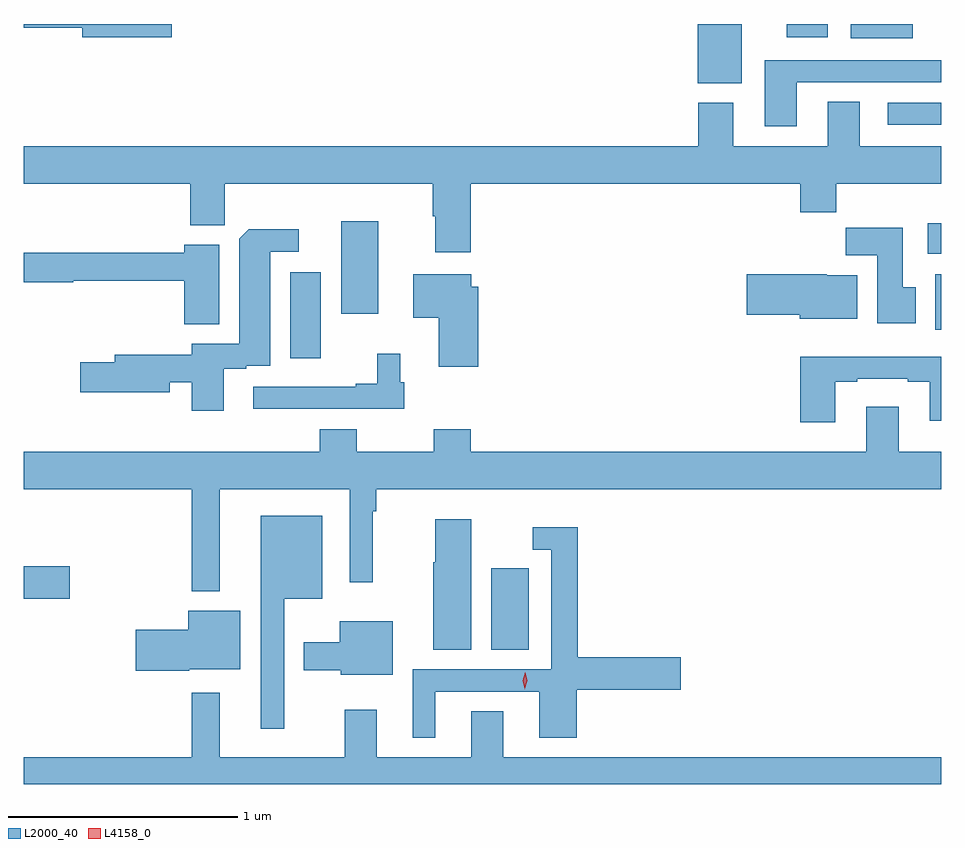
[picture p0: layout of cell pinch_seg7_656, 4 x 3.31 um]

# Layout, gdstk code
import gdstk
lib = gdstk.Library(unit=1e-6, precision=1e-09)
def R(c, l, rs):  # rectangles x0, y0, x1, y1
    for r in rs: c.add(gdstk.rectangle(r[:2], r[2:], *l))
def P(c, l, *ps):  # polygons
    for p in ps: c.add(gdstk.Polygon(p, *l))
L2000_40 = (2000, 40)
L4158_0 = (4158, 0)

pinch_seg7_656 = lib.new_cell('pinch_seg7_656')
R(pinch_seg7_656, L2000_40, [(353.828,998.584,353.992,998.941), (351.79,998.807,351.991,998.949), (352.952,999.855,353.086,1000.231), (355.763,999.98,355.79,1000.222), (353.174,1000.05,353.335,1000.453), (355.731,1000.31,355.79,1000.444), (355.557,1000.872,355.79,1000.968), (354.728,1001.054,354.919,1001.312), (355.394,1001.249,355.666,1001.312), (355.115,1001.255,355.294,1001.312)])
P(pinch_seg7_656, L2000_40, [(352.435,1001.312),(351.79,1001.312),(351.79,1001.296),(352.046,1001.296),(352.046,1001.254),(352.435,1001.254)],
  [(355.159,1001.058),(355.79,1001.058),(355.79,1001.154),(355.019,1001.154),(355.019,1000.866),(355.159,1000.866)],
  [(353.738,1000.616),(355.175,1000.616),(355.175,1000.492),(355.331,1000.492),(355.331,1000.616),(355.79,1000.616),(355.79,1000.78),(355.435,1000.78),(355.435,1000.973),(355.295,1000.973),(355.295,1000.78),(354.883,1000.78),(354.883,1000.969),(354.731,1000.969),(354.731,1000.78),(351.79,1000.78),(351.79,1000.616),(352.517,1000.616),(352.517,1000.435),(352.667,1000.435),(352.667,1000.616),(353.573,1000.616),(353.573,1000.475),(353.585,1000.475),(353.585,1000.317),(353.738,1000.317)],
  [(355.678,1000.164),(355.621,1000.164),(355.621,1000.423),(355.372,1000.423),(355.372,1000.304),(355.511,1000.304),(355.511,1000.008),(355.678,1000.008)],
  [(352.663,999.81),(352.76,999.81),(352.76,999.822),(352.864,999.822),(352.864,1000.32),(352.99,1000.32),(352.99,1000.418),(352.771,1000.418),(352.73,1000.376),(352.73,999.918),(352.523,999.918),(352.523,999.871),(352.187,999.871),(352.187,999.837),(352.038,999.837),(352.038,999.707),(352.426,999.707),(352.426,999.75),(352.523,999.75),(352.523,999.627),(352.663,999.627)],
  [(352.642,1000.35),(352.49,1000.35),(352.49,1000.315),(351.79,1000.315),(351.79,1000.186),(352.006,1000.186),(352.006,1000.194),(352.49,1000.194),(352.49,1000.003),(352.642,1000.003)],
  [(355.423,1000.216),(355.29,1000.216),(355.29,1000.222),(354.942,1000.222),(354.942,1000.046),(355.172,1000.046),(355.172,1000.028),(355.423,1000.028)],
  [(353.771,1000.167),(353.74,1000.167),(353.74,1000.222),(353.489,1000.222),(353.489,1000.031),(353.6,1000.031),(353.6,999.819),(353.771,999.819)],
  [(353.45,999.75),(353.431,999.75),(353.431,999.874),(353.332,999.874),(353.332,999.745),(353.237,999.745),(353.237,999.732),(352.791,999.732),(352.791,999.636),(353.45,999.636)],
  [(355.327,999.753),(355.423,999.753),(355.423,999.765),(355.643,999.765),(355.643,999.753),(355.739,999.753),(355.739,999.584),(355.79,999.584),(355.79,999.862),(355.175,999.862),(355.175,999.576),(355.327,999.576)],
  [(355.79,999.448),(355.603,999.448),(355.603,999.643),(355.463,999.643),(355.463,999.448),(353.738,999.448),(353.738,999.547),(353.578,999.547),(353.578,999.448),(353.241,999.448),(353.241,999.547),(353.081,999.547),(353.081,999.448),(351.79,999.448),(351.79,999.284),(352.524,999.284),(352.524,998.84),(352.645,998.84),(352.645,999.284),(353.211,999.284),(353.211,998.88),(353.312,998.88),(353.312,999.188),(353.327,999.188),(353.327,999.284),(355.79,999.284)],
  [(352.927,998.807),(353.092,998.807),(353.092,999.169),(352.823,999.169),(352.823,998.241),(352.927,998.241)],
  [(353.74,999.154),(353.585,999.154),(353.585,998.967),(353.576,998.967),(353.576,998.584),(353.74,998.584)],
  [(353.584,998.403),(354.038,998.403),(354.038,998.202),(354.2,998.202),(354.2,998.41),(354.655,998.41),(354.655,998.552),(354.206,998.552),(354.206,999.118),(354.009,999.118),(354.009,999.021),(354.09,999.021),(354.09,998.499),(353.486,998.499),(353.486,998.202),(353.584,998.202)],
  [(352.512,998.501),(352.735,998.501),(352.735,998.755),(352.508,998.755),(352.508,998.672),(352.278,998.672),(352.278,998.494),(352.512,998.494)],
  [(353.398,998.71),(353.168,998.71),(353.168,998.617),(353.012,998.617),(353.012,998.495),(353.172,998.495),(353.172,998.477),(353.398,998.477)],
  [(355.79,998.116),(353.881,998.116),(353.881,998.318),(353.741,998.318),(353.741,998.116),(353.329,998.116),(353.329,998.323),(353.189,998.323),(353.189,998.116),(352.645,998.116),(352.645,998.398),(352.524,998.398),(352.524,998.116),(351.79,998.116),(351.79,998),(355.79,998)])
P(pinch_seg7_656, L4158_0, [(353.974,998.414),(353.974,998.415),(353.965,998.451),(353.976,998.487),(353.977,998.487),(353.977,998.487),(353.985,998.45),(353.974,998.415)])

lib.write_gds('pinch_seg7_656.gds')
